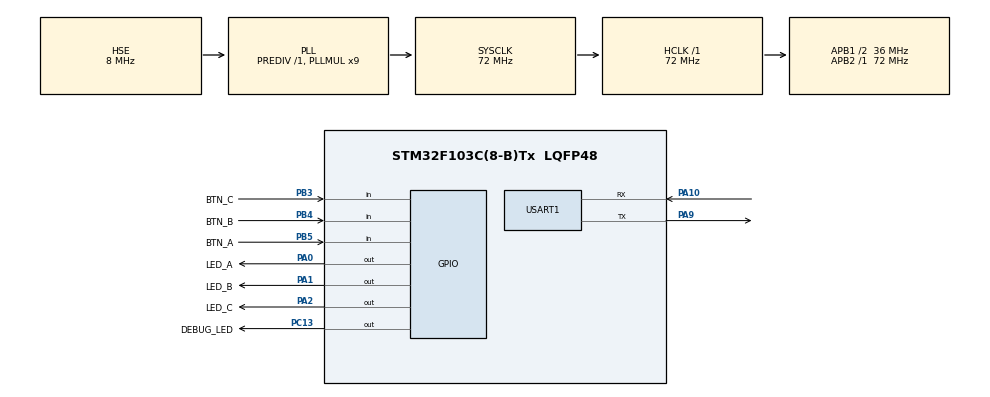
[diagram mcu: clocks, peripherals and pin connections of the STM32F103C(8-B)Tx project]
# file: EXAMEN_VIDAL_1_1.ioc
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Mcu.Family=STM32F1
Mcu.Name=STM32F103C(8-B)Tx
Mcu.Package=LQFP48
NVIC.PriorityGroup=NVIC_PRIORITYGROUP_4
NVIC.TIM2_IRQn=true\:0\:0\:false\:false\:true\:true\:true\:true
PA0-WKUP.GPIO_Label=LED_A
PA0-WKUP.Signal=GPIO_Output
PA1.GPIO_Label=LED_B
PA1.Signal=GPIO_Output
PA10.Mode=Asynchronous
PA10.Signal=USART1_RX
PA13.Mode=Serial_Wire
PA13.Signal=SYS_JTMS-SWDIO
PA14.Mode=Serial_Wire
PA14.Signal=SYS_JTCK-SWCLK
PA2.GPIO_Label=LED_C
PA2.Signal=GPIO_Output
PA9.Mode=Asynchronous
PA9.Signal=USART1_TX
PB3.GPIO_Label=BTN_C
PB3.GPIO_PuPd=GPIO_PULLUP
PB3.Signal=GPIO_Input
PB4.GPIO_Label=BTN_B
PB4.GPIO_PuPd=GPIO_PULLUP
PB4.Signal=GPIO_Input
PB5.GPIO_Label=BTN_A
PB5.GPIO_PuPd=GPIO_PULLUP
PB5.Signal=GPIO_Input
PC13-TAMPER-RTC.GPIO_Label=DEBUG_LED
PC13-TAMPER-RTC.Signal=GPIO_Output
PD0-OSC_IN.Mode=HSE-External-Oscillator
PD0-OSC_IN.Signal=RCC_OSC_IN
PD1-OSC_OUT.Mode=HSE-External-Oscillator
PD1-OSC_OUT.Signal=RCC_OSC_OUT
ProjectManager.HeapSize=0x200
ProjectManager.StackSize=0x400
ProjectManager.TargetToolchain=STM32CubeIDE
RCC.AHBFreq_Value=72000000
RCC.APB1CLKDivider=RCC_HCLK_DIV2
RCC.APB1Freq_Value=36000000
RCC.APB1TimFreq_Value=72000000
RCC.APB2Freq_Value=72000000
RCC.APB2TimFreq_Value=72000000
RCC.HCLKFreq_Value=72000000
RCC.PLLMUL=RCC_PLL_MUL9
RCC.PLLSourceVirtual=RCC_PLLSOURCE_HSE
RCC.SYSCLKFreq_VALUE=72000000
RCC.SYSCLKSource=RCC_SYSCLKSOURCE_PLLCLK
RCC.USBFreq_Value=72000000
TIM2.Channel-PWM\ Generation1\ No\ Output=TIM_CHANNEL_1
TIM2.Period=6000
TIM2.Prescaler=36000-1
TIM2.Pulse-PWM\ Generation1\ No\ Output=3000
USART1.VirtualMode=VM_ASYNC
VP_TIM2_VS_ClockSourceINT.Mode=Internal
VP_TIM2_VS_no_output1.Mode=PWM Generation1 No Output
board=custom

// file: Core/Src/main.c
/* USER CODE BEGIN Header */
/**
  ******************************************************************************
  * @file           : main.c
  * @brief          : Main program body
  ******************************************************************************
  * @attention
  *
  * Copyright (c) 2026 STMicroelectronics.
  * All rights reserved.
  *
  * This software is licensed under terms that can be found in the LICENSE file
  * in the root directory of this software component.
  * If no LICENSE file comes with this software, it is provided AS-IS.
  *
  ******************************************************************************
  */
/* USER CODE END Header */
#include "main.h"

/* USER CODE BEGIN Includes */
#include "stdio.h"
#include "string.h"
/* USER CODE END Includes */

/* USER CODE BEGIN PD */

#define MESSAGE_BUFFER_SIZE (50)

/* USER CODE END PD */

TIM_HandleTypeDef htim2;

UART_HandleTypeDef huart1;

/* USER CODE BEGIN PV */

typedef struct {
	GPIO_PinState LED_A;
	GPIO_PinState LED_B;
	GPIO_PinState LED_C;
	GPIO_PinState BTN_A;
	GPIO_PinState BTN_B;
	GPIO_PinState BTN_C;
} State_t;

typedef enum {
	ALARMA_APAGADA,
	E1,
	E2,
	ALARMA_ENCENDIDA,
	E3,
	E4,
	DISPARO_ALARMA
} FSM_State;

typedef enum {
	BOTON_PRESIONADO,
	TICK
} FSM_senial;

/* USER CODE END PV */

void SystemClock_Config(void);
static void MX_GPIO_Init(void);
static void MX_TIM2_Init(void);
static void MX_USART1_UART_Init(void);
/* USER CODE BEGIN PFP */
FSM_State FSM_ejecutar(FSM_State estado, FSM_senial senial);
/* USER CODE END PFP */

/* USER CODE BEGIN 0 */

char msg_buffer[MESSAGE_BUFFER_SIZE] = {0};

volatile State_t state = {
		.LED_A = GPIO_PIN_RESET,
		.LED_B = GPIO_PIN_RESET,
		.LED_C = GPIO_PIN_RESET,
		.BTN_A = GPIO_PIN_SET,
		.BTN_B = GPIO_PIN_SET,
		.BTN_C = GPIO_PIN_SET,
};

volatile FSM_State estado_FSM = ALARMA_APAGADA;

volatile uint8_t contador_alarma = 0;

/* USER CODE END 0 */

int main(void)
{

  /* MCU Configuration--------------------------------------------------------*/

  /* Reset of all peripherals, Initializes the Flash interface and the Systick. */
  HAL_Init();

  /* Configure the system clock */
  SystemClock_Config();

  /* Initialize all configured peripherals */
  MX_GPIO_Init();
  MX_TIM2_Init();
  MX_USART1_UART_Init();
  /* USER CODE BEGIN 2 */

  // Se inicia el timer para que genere una interrupción
  HAL_TIM_PWM_Start_IT(&htim2, TIM_CHANNEL_1);

  sniprintf(msg_buffer, MESSAGE_BUFFER_SIZE, "TEST\n\r");
  HAL_UART_Transmit(&huart1, (const uint8_t*) msg_buffer, MESSAGE_BUFFER_SIZE, HAL_MAX_DELAY);

  uint32_t counter = HAL_GetTick();
  uint32_t counter_alarma = HAL_GetTick();
  uint32_t counter_LEDS = HAL_GetTick();

  /* USER CODE END 2 */

  /* Infinite loop */
  while (1)
  {

    /* USER CODE BEGIN 3 */

	  if (HAL_GetTick() - counter_alarma > 1000) {
		  counter_alarma = HAL_GetTick();
		  estado_FSM = FSM_ejecutar(estado_FSM, TICK);
	  }

	  // Se actualizan los LEDs en el background
	  if (HAL_GetTick() - counter > 100) {
		  counter = HAL_GetTick();
		  HAL_GPIO_WritePin(LED_A_GPIO_Port, LED_A_Pin, state.LED_A);
		  HAL_GPIO_WritePin(LED_B_GPIO_Port, LED_B_Pin, state.LED_B);
		  HAL_GPIO_WritePin(LED_C_GPIO_Port, LED_C_Pin, state.LED_C);
	  }

	  if (HAL_GetTick() - counter_LEDS > 1000) {
		  counter_LEDS = HAL_GetTick();
		  state.LED_A = GPIO_PIN_RESET;
		  state.LED_B = GPIO_PIN_RESET;
		  state.LED_C = GPIO_PIN_RESET;
	  }

	  // CODIGO de DEBUG
//	  if (HAL_GPIO_ReadPin(BTN_A_GPIO_Port, BTN_A_Pin) == GPIO_PIN_RESET) {
//		  HAL_GPIO_WritePin(LED_A_GPIO_Port, LED_A_Pin, GPIO_PIN_SET);
//	  } else {
//		  HAL_GPIO_WritePin(LED_A_GPIO_Port, LED_A_Pin, GPIO_PIN_RESET);
//	  }
//
//	  if (HAL_GPIO_ReadPin(BTN_B_GPIO_Port, BTN_B_Pin) == GPIO_PIN_RESET) {
//		  HAL_GPIO_WritePin(LED_B_GPIO_Port, LED_B_Pin, GPIO_PIN_SET);
//	  } else {
//		  HAL_GPIO_WritePin(LED_B_GPIO_Port, LED_B_Pin, GPIO_PIN_RESET);
//	  }
//
//	  if (HAL_GPIO_ReadPin(BTN_C_GPIO_Port, BTN_C_Pin) == GPIO_PIN_RESET) {
//		  HAL_GPIO_WritePin(LED_C_GPIO_Port, LED_C_Pin, GPIO_PIN_SET);
//	  } else {
//		  HAL_GPIO_WritePin(LED_C_GPIO_Port, LED_C_Pin, GPIO_PIN_RESET);
//	  }

  }
  /* USER CODE END 3 */
}

void SystemClock_Config(void)
{
  RCC_OscInitTypeDef RCC_OscInitStruct = {0};
  RCC_ClkInitTypeDef RCC_ClkInitStruct = {0};

  /** Initializes the RCC Oscillators according to the specified parameters
  * in the RCC_OscInitTypeDef structure.
  */
  RCC_OscInitStruct.OscillatorType = RCC_OSCILLATORTYPE_HSE;
  RCC_OscInitStruct.HSEState = RCC_HSE_ON;
  RCC_OscInitStruct.HSEPredivValue = RCC_HSE_PREDIV_DIV1;
  RCC_OscInitStruct.HSIState = RCC_HSI_ON;
  RCC_OscInitStruct.PLL.PLLState = RCC_PLL_ON;
  RCC_OscInitStruct.PLL.PLLSource = RCC_PLLSOURCE_HSE;
  RCC_OscInitStruct.PLL.PLLMUL = RCC_PLL_MUL9;
  if (HAL_RCC_OscConfig(&RCC_OscInitStruct) != HAL_OK)
  {
    Error_Handler();
  }

  /** Initializes the CPU, AHB and APB buses clocks
  */
  RCC_ClkInitStruct.ClockType = RCC_CLOCKTYPE_HCLK|RCC_CLOCKTYPE_SYSCLK
                              |RCC_CLOCKTYPE_PCLK1|RCC_CLOCKTYPE_PCLK2;
  RCC_ClkInitStruct.SYSCLKSource = RCC_SYSCLKSOURCE_PLLCLK;
  RCC_ClkInitStruct.AHBCLKDivider = RCC_SYSCLK_DIV1;
  RCC_ClkInitStruct.APB1CLKDivider = RCC_HCLK_DIV2;
  RCC_ClkInitStruct.APB2CLKDivider = RCC_HCLK_DIV1;

  if (HAL_RCC_ClockConfig(&RCC_ClkInitStruct, FLASH_LATENCY_2) != HAL_OK)
  {
    Error_Handler();
  }
}

static void MX_TIM2_Init(void)
{

  TIM_ClockConfigTypeDef sClockSourceConfig = {0};
  TIM_MasterConfigTypeDef sMasterConfig = {0};
  TIM_OC_InitTypeDef sConfigOC = {0};

  htim2.Instance = TIM2;
  htim2.Init.Prescaler = 36000-1;
  htim2.Init.CounterMode = TIM_COUNTERMODE_UP;
  htim2.Init.Period = 6000;
  htim2.Init.ClockDivision = TIM_CLOCKDIVISION_DIV1;
  htim2.Init.AutoReloadPreload = TIM_AUTORELOAD_PRELOAD_DISABLE;
  if (HAL_TIM_Base_Init(&htim2) != HAL_OK)
  {
    Error_Handler();
  }
  sClockSourceConfig.ClockSource = TIM_CLOCKSOURCE_INTERNAL;
  if (HAL_TIM_ConfigClockSource(&htim2, &sClockSourceConfig) != HAL_OK)
  {
    Error_Handler();
  }
  if (HAL_TIM_PWM_Init(&htim2) != HAL_OK)
  {
    Error_Handler();
  }
  sMasterConfig.MasterOutputTrigger = TIM_TRGO_RESET;
  sMasterConfig.MasterSlaveMode = TIM_MASTERSLAVEMODE_DISABLE;
  if (HAL_TIMEx_MasterConfigSynchronization(&htim2, &sMasterConfig) != HAL_OK)
  {
    Error_Handler();
  }
  sConfigOC.OCMode = TIM_OCMODE_PWM1;
  sConfigOC.Pulse = 3000;
  sConfigOC.OCPolarity = TIM_OCPOLARITY_HIGH;
  sConfigOC.OCFastMode = TIM_OCFAST_DISABLE;
  if (HAL_TIM_PWM_ConfigChannel(&htim2, &sConfigOC, TIM_CHANNEL_1) != HAL_OK)
  {
    Error_Handler();
  }

}

static void MX_USART1_UART_Init(void)
{

  huart1.Instance = USART1;
  huart1.Init.BaudRate = 115200;
  huart1.Init.WordLength = UART_WORDLENGTH_8B;
  huart1.Init.StopBits = UART_STOPBITS_1;
  huart1.Init.Parity = UART_PARITY_NONE;
  huart1.Init.Mode = UART_MODE_TX_RX;
  huart1.Init.HwFlowCtl = UART_HWCONTROL_NONE;
  huart1.Init.OverSampling = UART_OVERSAMPLING_16;
  if (HAL_UART_Init(&huart1) != HAL_OK)
  {
    Error_Handler();
  }

}

static void MX_GPIO_Init(void)
{
  GPIO_InitTypeDef GPIO_InitStruct = {0};

  /* GPIO Ports Clock Enable */
  __HAL_RCC_GPIOC_CLK_ENABLE();
  __HAL_RCC_GPIOD_CLK_ENABLE();
  __HAL_RCC_GPIOA_CLK_ENABLE();
  __HAL_RCC_GPIOB_CLK_ENABLE();

  /*Configure GPIO pin Output Level */
  HAL_GPIO_WritePin(DEBUG_LED_GPIO_Port, DEBUG_LED_Pin, GPIO_PIN_RESET);

  /*Configure GPIO pin Output Level */
  HAL_GPIO_WritePin(GPIOA, LED_A_Pin|LED_B_Pin|LED_C_Pin, GPIO_PIN_RESET);

  /*Configure GPIO pin : DEBUG_LED_Pin */
  GPIO_InitStruct.Pin = DEBUG_LED_Pin;
  GPIO_InitStruct.Mode = GPIO_MODE_OUTPUT_PP;
  GPIO_InitStruct.Pull = GPIO_NOPULL;
  GPIO_InitStruct.Speed = GPIO_SPEED_FREQ_LOW;
  HAL_GPIO_Init(DEBUG_LED_GPIO_Port, &GPIO_InitStruct);

  /*Configure GPIO pins : LED_A_Pin LED_B_Pin LED_C_Pin */
  GPIO_InitStruct.Pin = LED_A_Pin|LED_B_Pin|LED_C_Pin;
  GPIO_InitStruct.Mode = GPIO_MODE_OUTPUT_PP;
  GPIO_InitStruct.Pull = GPIO_NOPULL;
  GPIO_InitStruct.Speed = GPIO_SPEED_FREQ_LOW;
  HAL_GPIO_Init(GPIOA, &GPIO_InitStruct);

  /*Configure GPIO pins : BTN_C_Pin BTN_B_Pin BTN_A_Pin */
  GPIO_InitStruct.Pin = BTN_C_Pin|BTN_B_Pin|BTN_A_Pin;
  GPIO_InitStruct.Mode = GPIO_MODE_INPUT;
  GPIO_InitStruct.Pull = GPIO_PULLUP;
  HAL_GPIO_Init(GPIOB, &GPIO_InitStruct);

}

/* USER CODE BEGIN 4 */
void HAL_TIM_OC_DelayElapsedCallback(TIM_HandleTypeDef *htim) {
	uint8_t algun_boton_presionado = 0;
	HAL_GPIO_TogglePin(DEBUG_LED_GPIO_Port, DEBUG_LED_Pin);
	if (htim->Instance == TIM2) {

		// Se hace polling en el foreground

	// Se lee el botón A
	  if (HAL_GPIO_ReadPin(BTN_A_GPIO_Port, BTN_A_Pin) == GPIO_PIN_RESET) {
		  state.LED_A = GPIO_PIN_SET;
		  algun_boton_presionado=1;
	  } else  {
		  state.LED_A = GPIO_PIN_RESET;
	  }

	// Se lee el botón B
	  if (HAL_GPIO_ReadPin(BTN_B_GPIO_Port, BTN_B_Pin) == GPIO_PIN_RESET) {
		  state.LED_B = GPIO_PIN_SET;
		  algun_boton_presionado=1;
	  } else  {
		  state.LED_B = GPIO_PIN_RESET;
	  }

	// Se lee el botón C
	  if (HAL_GPIO_ReadPin(BTN_C_GPIO_Port, BTN_C_Pin) == GPIO_PIN_RESET) {
		  state.LED_C = GPIO_PIN_SET;
		  algun_boton_presionado=1;
	  } else  {
		  state.LED_C = GPIO_PIN_RESET;
	  }

	  if (algun_boton_presionado == 1) {
		  estado_FSM = FSM_ejecutar(estado_FSM, BOTON_PRESIONADO);
	  }

	}
}

FSM_State FSM_ejecutar(FSM_State estado, FSM_senial senial) {
	// Se verifica la secuencia
	switch (estado) {
	case ALARMA_APAGADA:
		if (senial == BOTON_PRESIONADO) {
			if (
					state.LED_A == GPIO_PIN_SET &&
					state.LED_B == GPIO_PIN_RESET &&
					state.LED_C == GPIO_PIN_RESET
			)  {
				return  E1;}
		}
		break;

	case E1:
		if (senial == BOTON_PRESIONADO) {
			if (
					state.LED_A == GPIO_PIN_SET &&
					state.LED_B == GPIO_PIN_SET &&
					state.LED_C == GPIO_PIN_RESET
			)  {
				return  E2; }
			else if (
					state.LED_A == GPIO_PIN_SET &&
					state.LED_B == GPIO_PIN_RESET &&
					state.LED_C == GPIO_PIN_RESET
			){
				return  E1; }
		}
		break;

	case E2:
		if (senial == BOTON_PRESIONADO) {
			if (
					state.LED_A == GPIO_PIN_RESET &&
					state.LED_B == GPIO_PIN_RESET &&
					state.LED_C == GPIO_PIN_SET
			)  {
				memset(msg_buffer, 0, MESSAGE_BUFFER_SIZE);
				sniprintf(msg_buffer, MESSAGE_BUFFER_SIZE, "ALARMA ACTIVADA\n\r");
				HAL_UART_Transmit(&huart1, (const uint8_t*) msg_buffer, MESSAGE_BUFFER_SIZE, HAL_MAX_DELAY);
				return  ALARMA_ENCENDIDA;
			}
			else if (
					state.LED_A == GPIO_PIN_SET &&
					state.LED_B == GPIO_PIN_RESET &&
					state.LED_C == GPIO_PIN_RESET
			){
				return  E1; }
			else if (
					state.LED_A == GPIO_PIN_SET &&
					state.LED_B == GPIO_PIN_SET &&
					state.LED_C == GPIO_PIN_RESET
			){
				return  E2; }
		}
		break;

	case ALARMA_ENCENDIDA:
		if (senial == BOTON_PRESIONADO) {
			if (
					state.LED_A == GPIO_PIN_SET &&
					state.LED_B == GPIO_PIN_RESET &&
					state.LED_C == GPIO_PIN_RESET
			)  {
				return  E3;
			} else {
				return  DISPARO_ALARMA;
			}
		}
		break;

	case E3:
		if (senial == BOTON_PRESIONADO) {
			if (
					state.LED_A == GPIO_PIN_SET &&
					state.LED_B == GPIO_PIN_SET &&
					state.LED_C == GPIO_PIN_RESET
			)  {
				return  E4;
			} else {
				return  DISPARO_ALARMA;
			}
		}
		break;

	case E4:
		if (senial == BOTON_PRESIONADO) {
			if (
					state.LED_A == GPIO_PIN_RESET &&
					state.LED_B == GPIO_PIN_RESET &&
					state.LED_C == GPIO_PIN_SET
			)  {
				memset(msg_buffer, 0, MESSAGE_BUFFER_SIZE);
				sniprintf(msg_buffer, MESSAGE_BUFFER_SIZE, "ALARMA DESACTIVADA\n\r");
				HAL_UART_Transmit(&huart1, (const uint8_t*) msg_buffer, MESSAGE_BUFFER_SIZE, HAL_MAX_DELAY);
				return  ALARMA_APAGADA;
			} else {
				return  DISPARO_ALARMA;
			}
		}
		break;

	case DISPARO_ALARMA:
		if (senial == TICK) {
			memset(msg_buffer, 0, MESSAGE_BUFFER_SIZE);
			sniprintf(msg_buffer, MESSAGE_BUFFER_SIZE, "ALARMA!\n\r");
			HAL_UART_Transmit(&huart1, (const uint8_t*) msg_buffer, MESSAGE_BUFFER_SIZE, HAL_MAX_DELAY);
			if (contador_alarma >= 4) {
				contador_alarma = 0;
				return ALARMA_ENCENDIDA;
			}
			contador_alarma++;
		} else if (senial == BOTON_PRESIONADO) {
			return DISPARO_ALARMA;
		}
		break;
		default:
			return estado;
	}
	return estado;
}
/* USER CODE END 4 */

void Error_Handler(void)
{
  __disable_irq();
  while (1)
  {
  }
}
